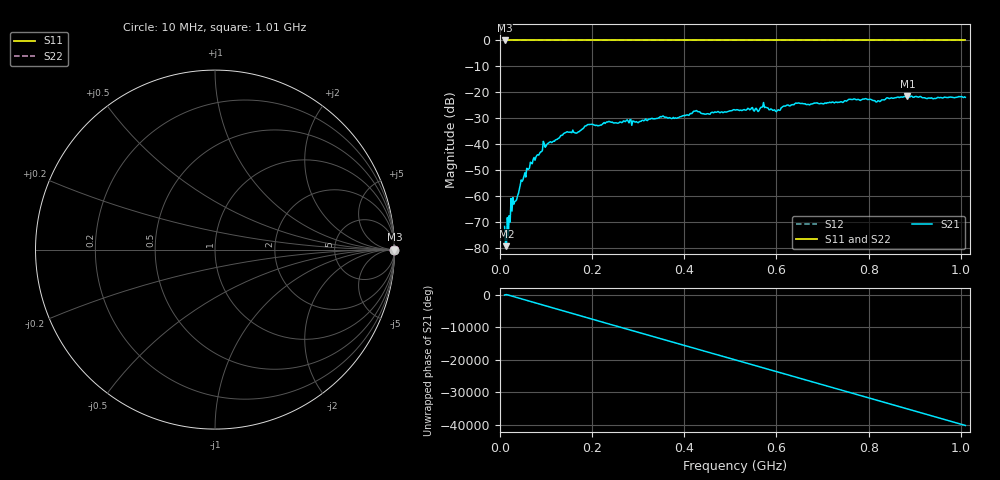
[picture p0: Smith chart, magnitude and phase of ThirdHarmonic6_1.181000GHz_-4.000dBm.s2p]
! 8/16/2025 12:03:15 PM
! C:\ANRITSUVNA\TEMP\TEMP.S2P
! CHANNEL.1
! TR.MEASUREMENT
! RAW.DATA
! RF.CORRECTION.OFF
! AVERAGING.OFF
! IF.BANDWIDTH: 5KHZ
! SWEEPTYPE:  FREQ.SWEEP(Linear)
! Reference Plane Port Info
! PORT:  PORT1  PORT2
! DISTANCE:  0  m  0  m
! TIME:  0  s  0  s
! PHASE.OFFSET:  0  deg.  0  deg.
! LOSS:  0  dB  0  dB
! REF.LOSS:  0  dB  0  dB
! REF.FREQ:  0  Hz  0  Hz
! Power Info
! POWER:  -20  dBm  -20  dBm
! EFF.POWER:  -20  dBm  -20  dBm
! SOURCE.ATTEN:  0  dB  0  dB
! TEST.ATTEN:  0  dB  0  dB
# GHZ S RI R 50.0
! FREQ.GHZ  S11RE  S11IM  S21RE  S21IM  S12RE  S12IM  S22RE  S22IM
!; PortSelection: Port_12
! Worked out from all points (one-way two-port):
!   501 points, 10 MHz to 1.01 GHz, reference 50 ohm
!   highest |S21| = -21.37 dB at 884 MHz (marker M1); lowest = -79.2 dB at 14 MHz (marker M2)
!   lowest |S11| = 0.0 dB at 10 MHz (marker M3)
!   |S11| at or under -10 dB: nowhere
!   |S22| runs from 0.0 to 0.0 dB; largest |S21 - S12| = 1.1
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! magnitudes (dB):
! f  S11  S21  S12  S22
! 10 MHz  0.0  -71.6  0.0  0.0
! 14 MHz  0.0  -79.2  0.0  0.0
! 28 MHz  0.0  -60.5  0.0  0.0
! 34 MHz  0.0  -61.8  0.0  0.0
! 50 MHz  0.0  -53.6  0.0  0.0
! 70 MHz  0.0  -47.5  0.0  0.0
! 98 MHz  0.0  -41.2  0.0  0.0
! 142 MHz  0.0  -35.5  0.0  0.0
! 178 MHz  0.0  -34.2  0.0  0.0
! 194 MHz  0.0  -32.4  0.0  0.0
! 344 MHz  0.0  -29.9  0.0  0.0
! 382 MHz  0.0  -29.9  0.0  0.0
! 424 MHz  0.0  -27.2  0.0  0.0
! 452 MHz  0.0  -28.2  0.0  0.0
! 510 MHz  0.0  -26.8  0.0  0.0
! 572 MHz  0.0  -23.9  0.0  0.0
! 602 MHz  0.0  -27.0  0.0  0.0
! 644 MHz  0.0  -24.2  0.0  0.0
! 678 MHz  0.0  -24.4  0.0  0.0
! 844 MHz  0.0  -22.4  0.0  0.0
! 884 MHz  0.0  -21.4  0.0  0.0
! 1.01 GHz  0.0  -21.9  0.0  0.0
